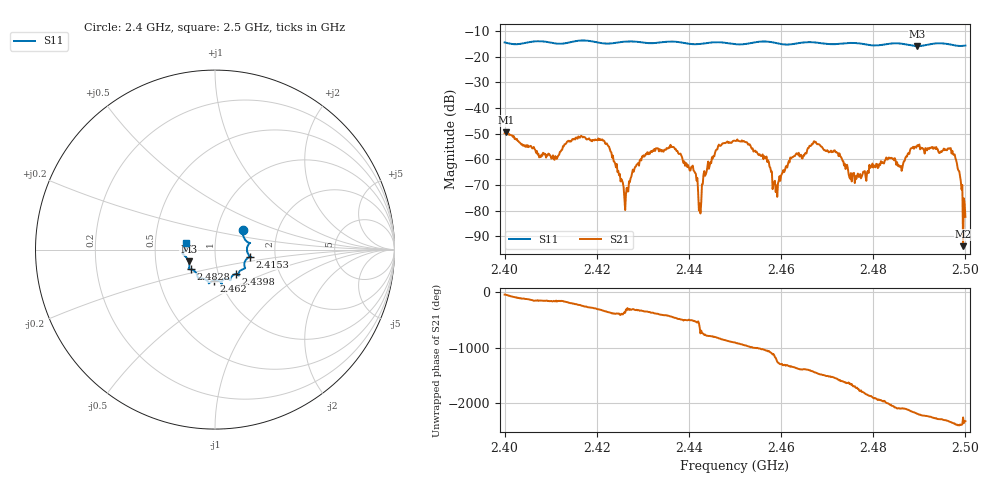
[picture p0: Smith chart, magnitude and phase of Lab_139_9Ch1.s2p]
# Hz S RI R 50
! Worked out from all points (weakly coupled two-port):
!   601 points, 2.4 GHz to 2.5 GHz, reference 50 ohm
!   highest |S21| = -49.50 dB at 2.4003 GHz (marker M1); lowest = -93.8 dB at 2.4995 GHz (marker M2)
!   lowest |S11| = -15.9 dB at 2.4895 GHz (marker M3), VSWR 1.38, Z = 37 - j5.01 ohm
!   |S11| at or under -10 dB: start of sweep to end of sweep
!   S12 and S22 are empty: the file has one direction only
!   S11 on the Smith chart (normalised r, x): 2.4 GHz: 1.33, +0.29; 2.4153 GHz: 1.48, -0.12; 2.4398 GHz: 1.21, -0.34; 2.462 GHz: 0.93, -0.33; 2.4828 GHz: 0.74, -0.17; 2.5 GHz: 0.72, +0.06
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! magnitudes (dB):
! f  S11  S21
! 2.4 GHz  -14.5  -49.8
! 2.4003 GHz  -14.6  -49.5
! 2.4107 GHz  -14.8  -59.8
! 2.4153 GHz  -14.0  -52.2
! 2.4167 GHz  -13.7  -50.9
! 2.4222 GHz  -14.9  -53.8
! 2.4263 GHz  -14.1  -73.5
! 2.4333 GHz  -14.6  -55.8
! 2.4398 GHz  -15.0  -62.2
! 2.4425 GHz  -15.1  -81.0
! 2.4462 GHz  -14.4  -56.1
! 2.45 GHz  -15.1  -52.8
! 2.4587 GHz  -14.6  -68.3
! 2.462 GHz  -15.2  -59.3
! 2.4667 GHz  -14.4  -54.0
! 2.4758 GHz  -14.7  -65.3
! 2.4828 GHz  -15.1  -59.3
! 2.4833 GHz  -15.0  -59.3
! 2.4895 GHz  -15.9  -54.7
! 2.4968 GHz  -15.3  -55.6
! 2.4995 GHz  -15.8  -93.8
! 2.5 GHz  -15.7  -82.4
